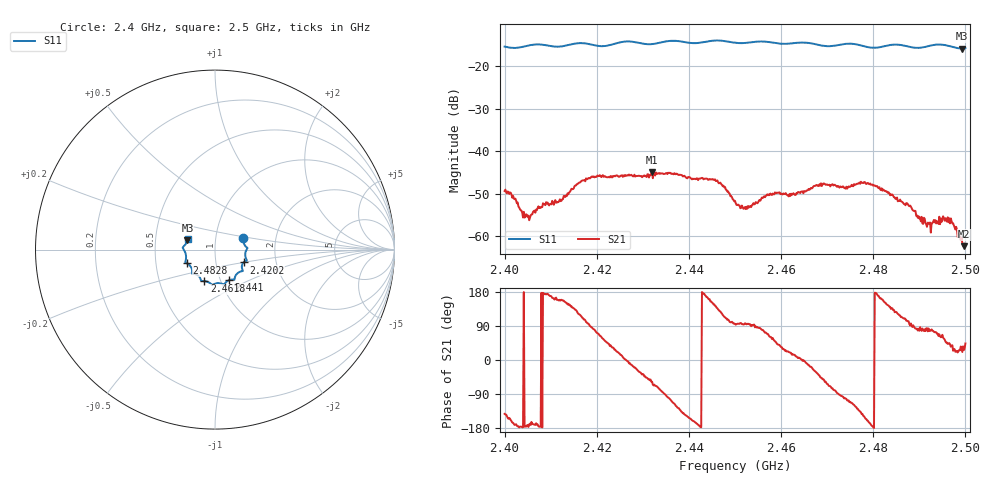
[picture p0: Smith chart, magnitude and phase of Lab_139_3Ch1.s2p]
# Hz S RI R 50
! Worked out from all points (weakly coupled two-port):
!   601 points, 2.4 GHz to 2.5 GHz, reference 50 ohm
!   highest |S21| = -44.86 dB at 2.432 GHz (marker M1); lowest = -62.3 dB at 2.4997 GHz (marker M2)
!   lowest |S11| = -15.8 dB at 2.4993 GHz (marker M3), VSWR 1.39, Z = 36.5 + j3.81 ohm
!   |S11| at or under -10 dB: start of sweep to end of sweep
!   S12 and S22 are empty: the file has one direction only
!   S11 on the Smith chart (normalised r, x): 2.4 GHz: 1.36, +0.18; 2.4202 GHz: 1.36, -0.20; 2.441 GHz: 1.10, -0.39; 2.4618 GHz: 0.84, -0.30; 2.4828 GHz: 0.72, -0.11; 2.5 GHz: 0.73, +0.09
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2.4e9  0.1587 0.0627  -0.0027 -0.0021  0 0  0 0
2.4055e9  0.177 0.0122  -0.00163 -0.000344  0 0  0 0
2.412167e9  0.1684 -0.0298  -0.00239 0.00102  0 0  0 0
2.416667e9  0.1773 -0.0608  -0.0019 0.00407  0 0  0 0
2.420167e9  0.159 -0.0716  0.00172 0.00493  0 0  0 0
2.432e9  0.1187 -0.1387  0.00309 -0.0048  0 0  0 0
2.433333e9  0.1117 -0.1508  0.00162 -0.00528  0 0  0 0
2.441e9  0.0788 -0.1699  -0.00448 -0.00154  0 0  0 0
2.445667e9  0.0504 -0.1946  -0.00375 0.00283  0 0  0 0
2.45e9  0.0288 -0.1873  -0.000232 0.00261  0 0  0 0
2.452167e9  0.00691 -0.188  -0.000263 0.0022  0 0  0 0
2.457333e9  -0.0214 -0.192  0.00134 0.00282  0 0  0 0
2.461833e9  -0.0591 -0.1755  0.00296 0.0011  0 0  0 0
2.466667e9  -0.0788 -0.1683  0.00345 -0.00125  0 0  0 0
2.477833e9  -0.1273 -0.1175  -0.00358 -0.00228  0 0  0 0
2.482833e9  -0.157 -0.0763  -0.00283 0.0018  0 0  0 0
2.483333e9  -0.1603 -0.0749  -0.00265 0.00197  0 0  0 0
2.492e9  -0.1729 -0.00248  0.000167 0.00143  0 0  0 0
2.496667e9  -0.171 0.0212  0.00107 0.000945  0 0  0 0
2.499333e9  -0.1539 0.0508  0.000781 0.000301  0 0  0 0
2.499667e9  -0.1528 0.0557  0.000691 0.000338  0 0  0 0
2.5e9  -0.1521 0.0605  0.00058 0.000552  0 0  0 0
